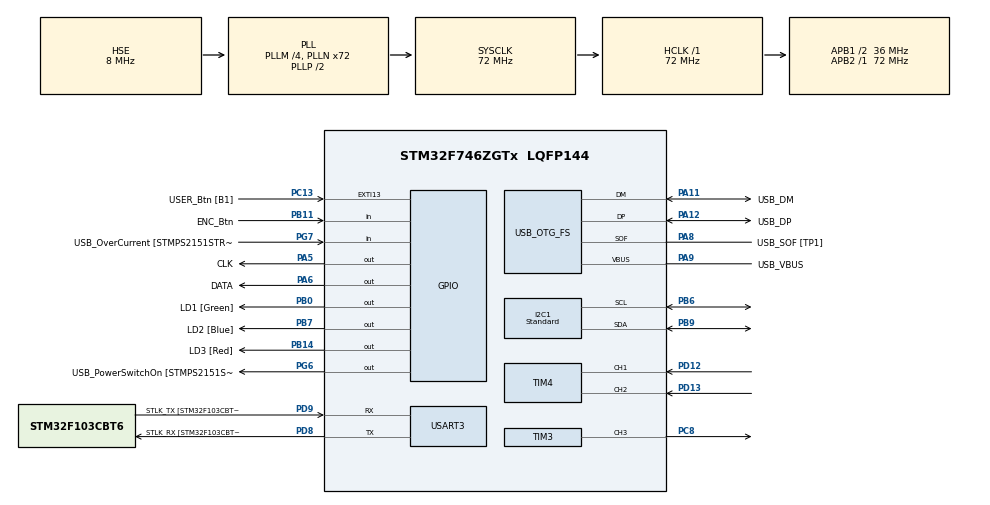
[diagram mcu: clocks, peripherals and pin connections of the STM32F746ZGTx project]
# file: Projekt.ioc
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I2C1.I2C_Speed_Mode=I2C_Standard
I2C1.Timing=0x00808CD2
Mcu.Family=STM32F7
Mcu.Name=STM32F746ZGTx
Mcu.Package=LQFP144
NVIC.PriorityGroup=NVIC_PRIORITYGROUP_4
NVIC.TIM1_UP_TIM10_IRQn=true\:0\:0\:false\:false\:true\:true\:true\:true
NVIC.TIM4_IRQn=true\:0\:0\:false\:false\:true\:true\:true\:true
NVIC.USART3_IRQn=true\:0\:0\:false\:false\:true\:true\:true\:true
PA1.GPIO_Label=RMII_REF_CLK [LAN8742A-CZ-TR_REFCLK0]
PA1.Signal=ETH_REF_CLK
PA10.GPIO_Label=USB_ID
PA10.Signal=USB_OTG_FS_ID
PA11.GPIO_Label=USB_DM
PA11.Mode=Device_Only
PA11.Signal=USB_OTG_FS_DM
PA12.GPIO_Label=USB_DP
PA12.Mode=Device_Only
PA12.Signal=USB_OTG_FS_DP
PA13.GPIO_Label=TMS
PA13.Mode=Serial_Wire
PA13.Signal=SYS_JTMS-SWDIO
PA14.GPIO_Label=TCK
PA14.Mode=Serial_Wire
PA14.Signal=SYS_JTCK-SWCLK
PA2.GPIO_Label=RMII_MDIO [LAN8742A-CZ-TR_MDIO]
PA2.Signal=ETH_MDIO
PA5.GPIO_Label=CLK
PA5.Signal=GPIO_Output
PA6.GPIO_Label=DATA
PA6.Signal=GPIO_Output
PA7.GPIO_Label=RMII_CRS_DV [LAN8742A-CZ-TR_CRS_DV]
PA7.Signal=ETH_CRS_DV
PA8.GPIO_Label=USB_SOF [TP1]
PA8.Mode=Activate_SOF_FS
PA8.Signal=USB_OTG_FS_SOF
PA9.GPIO_Label=USB_VBUS
PA9.Mode=Activate_VBUS
PA9.Signal=USB_OTG_FS_VBUS
PB0.GPIO_Label=LD1 [Green]
PB0.Signal=GPIO_Output
PB11.GPIO_Label=ENC_Btn
PB11.Signal=GPIO_Input
PB13.GPIO_Label=RMII_TXD1 [LAN8742A-CZ-TR_TXD1]
PB13.Signal=ETH_TXD1
PB14.GPIO_Label=LD3 [Red]
PB14.Signal=GPIO_Output
PB3.GPIO_Label=SW0
PB3.Signal=SYS_JTDO-SWO
PB6.Mode=I2C
PB6.Signal=I2C1_SCL
PB7.GPIO_Label=LD2 [Blue]
PB7.Signal=GPIO_Output
PB9.Mode=I2C
PB9.Signal=I2C1_SDA
PC1.GPIO_Label=RMII_MDC [LAN8742A-CZ-TR_MDC]
PC1.Signal=ETH_MDC
PC13.GPIO_Label=USER_Btn [B1]
PC13.Signal=GPXTI13
PC14/OSC32_IN.Mode=LSE-External-Oscillator
PC14/OSC32_IN.Signal=RCC_OSC32_IN
PC15/OSC32_OUT.Mode=LSE-External-Oscillator
PC15/OSC32_OUT.Signal=RCC_OSC32_OUT
PC4.GPIO_Label=RMII_RXD0 [LAN8742A-CZ-TR_RXD0]
PC4.Signal=ETH_RXD0
PC5.GPIO_Label=RMII_RXD1 [LAN8742A-CZ-TR_RXD1]
PC5.Signal=ETH_RXD1
PC8.Signal=S_TIM3_CH3
PD12.Signal=S_TIM4_CH1
PD13.Signal=S_TIM4_CH2
PD8.GPIO_Label=STLK_RX [STM32F103CBT6_PA3]
PD8.GPIO_PuPd=GPIO_PULLUP
PD8.Mode=Asynchronous
PD8.Signal=USART3_TX
PD9.GPIO_Label=STLK_TX [STM32F103CBT6_PA2]
PD9.GPIO_PuPd=GPIO_PULLUP
PD9.Mode=Asynchronous
PD9.Signal=USART3_RX
PG11.GPIO_Label=RMII_TX_EN [LAN8742A-CZ-TR_TXEN]
PG11.Signal=ETH_TX_EN
PG13.GPIO_Label=RMII_TXD0 [LAN8742A-CZ-TR_TXD0]
PG13.Signal=ETH_TXD0
PG6.GPIO_Label=USB_PowerSwitchOn [STMPS2151STR_EN]
PG6.Signal=GPIO_Output
PG7.GPIO_Label=USB_OverCurrent [STMPS2151STR_FAULT]
PG7.Signal=GPIO_Input
PH0/OSC_IN.GPIO_Label=MCO [STM32F103CBT6_PA8]
PH0/OSC_IN.Mode=HSE-External-Clock-Source
PH0/OSC_IN.Signal=RCC_OSC_IN
PH1/OSC_OUT.Mode=HSE-External-Clock-Source
PH1/OSC_OUT.Signal=RCC_OSC_OUT
ProjectManager.HeapSize=0x200
ProjectManager.StackSize=0x400
ProjectManager.TargetToolchain=STM32CubeIDE
RCC.48MHZClocksFreq_Value=24000000
RCC.AHBFreq_Value=72000000
RCC.APB1CLKDivider=RCC_HCLK_DIV2
RCC.APB1Freq_Value=36000000
RCC.APB1TimFreq_Value=72000000
RCC.APB2Freq_Value=72000000
RCC.APB2TimFreq_Value=72000000
RCC.CortexFreq_Value=72000000
RCC.HCLKFreq_Value=72000000
RCC.HSE_VALUE=8000000
RCC.HSI_VALUE=16000000
RCC.PLLM=4
RCC.PLLMUL=RCC_PLL_MUL9
RCC.PLLN=72
RCC.PLLQ=3
RCC.PRESCALERUSB=RCC_USBCLKSOURCE_PLL_DIV1_5
RCC.SYSCLKFreq_VALUE=72000000
RCC.SYSCLKSource=RCC_SYSCLKSOURCE_PLLCLK
RCC.SYSCLKSourceVirtual=RCC_SYSCLKSOURCE_PLLCLK
RCC.USBFreq_Value=48000000
RCC.VCOOutputFreq_Value=144000000
SH.S_TIM3_CH3.0=TIM3_CH3,PWM Generation3 CH3
SH.S_TIM4_CH1.0=TIM4_CH1,Encoder_Interface
SH.S_TIM4_CH2.0=TIM4_CH2,Encoder_Interface
TIM10.Period=4999
TIM10.Prescaler=9999
TIM3.AutoReloadPreload=TIM_AUTORELOAD_PRELOAD_ENABLE
TIM3.Channel-PWM\ Generation3\ CH3=TIM_CHANNEL_3
TIM3.Period=999
TIM3.Prescaler=71
TIM4.EncoderMode=TIM_ENCODERMODE_TI12
TIM4.IC1Filter=15
TIM4.IC2Filter=15
USART3.VirtualMode-Asynchronous=VM_ASYNC
USB_OTG_FS.VirtualMode=Device_Only
VP_TIM10_VS_ClockSourceINT.Mode=Enable_Timer
board=NUCLEO-F746ZG

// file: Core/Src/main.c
/* USER CODE BEGIN Header */
/**
  ******************************************************************************
  * @file           : main.c
  * @brief          : Main program body
  ******************************************************************************
  * @attention
  *
  * Copyright (c) 2024 STMicroelectronics.
  * All rights reserved.
  *
  * This software is licensed under terms that can be found in the LICENSE file
  * in the root directory of this software component.
  * If no LICENSE file comes with this software, it is provided AS-IS.
  *
  ******************************************************************************
  */
/* USER CODE END Header */
#include "main.h"
#include "i2c.h"
#include "tim.h"
#include "usart.h"
#include "usb_otg.h"
#include "gpio.h"

/* USER CODE BEGIN Includes */
#include "BMPXX80.h"
#include <stdio.h>
#include <stdint.h>
#include "TM1637.h"

/* USER CODE END Includes */

/* USER CODE BEGIN PV */
uint8_t temp[3];

int received_temperature;
int pressure;
int temp_zad_disp;
int temp_act_disp;
int impulsy, prev_impulsy;
float counter;

float temperature;
float temp_zad;
float pulse = 0.0;
int pwm_pulse = 0;

typedef struct {
	float kp;
	float ki;
	float kd;
	float dt;
	float prev_error;
	float prev_integral;
	float saturation_limit;
} PIDController;

/* USER CODE END PV */

void SystemClock_Config(void);

/* USER CODE BEGIN 0 */
PIDController myPID = {2.03, 0.002 , 0, 0.5, 0, 0};
/* USER CODE END 0 */

int main(void)
{

  /* MCU Configuration--------------------------------------------------------*/

  /* Reset of all peripherals, Initializes the Flash interface and the Systick. */
  HAL_Init();

  /* Configure the system clock */
  SystemClock_Config();

  /* Initialize all configured peripherals */
  MX_GPIO_Init();
  MX_USB_OTG_FS_PCD_Init();
  MX_I2C1_Init();
  MX_TIM10_Init();
  MX_TIM3_Init();
  MX_USART3_UART_Init();
  MX_TIM4_Init();
  /* USER CODE BEGIN 2 */
HAL_UART_Receive_IT(&huart3, &temp, 3);
BMP280_Init(&hi2c1, BMP280_TEMPERATURE_16BIT, BMP280_STANDARD, BMP280_FORCEDMODE);
HAL_TIM_Base_Start_IT(&htim10);
HAL_TIM_PWM_Start(&htim3, TIM_CHANNEL_3);
__HAL_TIM_SET_COMPARE(&htim3, TIM_CHANNEL_3, pulse);
HAL_TIM_Encoder_Start_IT(&htim4, TIM_CHANNEL_ALL);
TM1637_SetBrightness(7);
  /* USER CODE END 2 */

  /* Infinite loop */
  while (1)
  {

    /* USER CODE BEGIN 3 */

	  if(HAL_GPIO_ReadPin(ENC_Btn_GPIO_Port, ENC_Btn_Pin)==1) TM1637_DisplayDecimal(temp_zad_disp, 1);
	  else TM1637_DisplayDecimal(temp_act_disp, 1);
	  impulsy = __HAL_TIM_GET_COUNTER(&htim4);
	 // temperature = BMP280_ReadTemperature();
  }
  /* USER CODE END 3 */
}

void SystemClock_Config(void)
{
  RCC_OscInitTypeDef RCC_OscInitStruct = {0};
  RCC_ClkInitTypeDef RCC_ClkInitStruct = {0};

  /** Configure LSE Drive Capability
  */
  HAL_PWR_EnableBkUpAccess();

  /** Configure the main internal regulator output voltage
  */
  __HAL_RCC_PWR_CLK_ENABLE();
  __HAL_PWR_VOLTAGESCALING_CONFIG(PWR_REGULATOR_VOLTAGE_SCALE3);

  /** Initializes the RCC Oscillators according to the specified parameters
  * in the RCC_OscInitTypeDef structure.
  */
  RCC_OscInitStruct.OscillatorType = RCC_OSCILLATORTYPE_HSE;
  RCC_OscInitStruct.HSEState = RCC_HSE_BYPASS;
  RCC_OscInitStruct.PLL.PLLState = RCC_PLL_ON;
  RCC_OscInitStruct.PLL.PLLSource = RCC_PLLSOURCE_HSE;
  RCC_OscInitStruct.PLL.PLLM = 4;
  RCC_OscInitStruct.PLL.PLLN = 72;
  RCC_OscInitStruct.PLL.PLLP = RCC_PLLP_DIV2;
  RCC_OscInitStruct.PLL.PLLQ = 3;
  if (HAL_RCC_OscConfig(&RCC_OscInitStruct) != HAL_OK)
  {
    Error_Handler();
  }

  /** Initializes the CPU, AHB and APB buses clocks
  */
  RCC_ClkInitStruct.ClockType = RCC_CLOCKTYPE_HCLK|RCC_CLOCKTYPE_SYSCLK
                              |RCC_CLOCKTYPE_PCLK1|RCC_CLOCKTYPE_PCLK2;
  RCC_ClkInitStruct.SYSCLKSource = RCC_SYSCLKSOURCE_PLLCLK;
  RCC_ClkInitStruct.AHBCLKDivider = RCC_SYSCLK_DIV1;
  RCC_ClkInitStruct.APB1CLKDivider = RCC_HCLK_DIV2;
  RCC_ClkInitStruct.APB2CLKDivider = RCC_HCLK_DIV1;

  if (HAL_RCC_ClockConfig(&RCC_ClkInitStruct, FLASH_LATENCY_2) != HAL_OK)
  {
    Error_Handler();
  }
}

/* USER CODE BEGIN 4 */
float calc_pid(PIDController* pid, float set_temp, float meas_temp){
	float u, P, I, D, error, integral, derivative;

	error = set_temp-meas_temp;

	P=pid->kp * error;

	integral = pid->prev_integral + (error+pid->prev_error);
	pid->prev_integral = integral;
	I = pid->ki*integral*(pid->dt/2.0);

	derivative = (error - pid->prev_error)/pid->dt;
	pid->prev_error=error;
	D = pid->kd*derivative;

	u = P+I+D;

	return u;
}

int ConvertTemperature(char hundreds, char tens, char units)
{
  int integer_part = (hundreds - '0') * 100 + (tens - '0') * 10 + (units - '0');
  return integer_part;
}

void HAL_UART_RxCpltCallback(UART_HandleTypeDef *huart){
	if (huart->Instance == USART3){
		received_temperature = ConvertTemperature(temp[0], temp[1], temp[2]);
		if (received_temperature==999) {
			uint8_t Data[70];

			sprintf(Data, "Temperatura aktualna wynosi wynosi:", temperature);

			HAL_UART_Transmit_IT(&huart3, (uint8_t*)Data, strlen(Data));
		} else if(received_temperature==997){
			uint8_t Data[70];
			uint16_t size = 0;

			sprintf(Data, "Temperatura zadana wynosi: ", temp_zad);

			HAL_UART_Transmit_IT(&huart3, (uint8_t*)Data, strlen(Data));
		}

		temp_zad = received_temperature / 10.0;
		if(temp_zad>35){
			temp_zad=35;
		}
		else if(temp_zad<25){
			temp_zad=25;
		}
		temp_zad_disp=temp_zad*100;
		HAL_UART_Receive_IT(&huart3, &temp, 3);

	}

void HAL_TIM_IC_CaptureCallback(TIM_HandleTypeDef *htim)
{
  if (htim->Instance == TIM4)
  {
    if(__HAL_TIM_GET_COUNTER(&htim4)>prev_impulsy)temp_zad += 0.05;
    else temp_zad += -0.05;
    temp_zad_disp=temp_zad*100; //skalowanie na wyświetlacz
    prev_impulsy =__HAL_TIM_GET_COUNTER(&htim4);
    if(temp_zad>35){
    			temp_zad=35;
    		}
    		else if(temp_zad<25){
    			temp_zad=25;
    		}
      }
}

void HAL_TIM_PeriodElapsedCallback(TIM_HandleTypeDef *htim) {
	temperature = BMP280_ReadTemperature();
	temp_act_disp=temperature*100;
	HAL_GPIO_TogglePin(LD1_GPIO_Port, LD1_Pin);
	if(temp_zad != 0){
	pulse = (999.0*calc_pid(&myPID, temp_zad, temperature));
	if(pulse > 999.0){
		pwm_pulse = 999;
	}
	else if(pulse <0){
		pwm_pulse = 0;
	}
	else {
		pwm_pulse = (int)pulse;
	}
	__HAL_TIM_SET_COMPARE(&htim3, TIM_CHANNEL_3, pwm_pulse);
	}
}

/* USER CODE END 4 */

void Error_Handler(void)
{
  __disable_irq();
  while (1)
  {
  }
}
